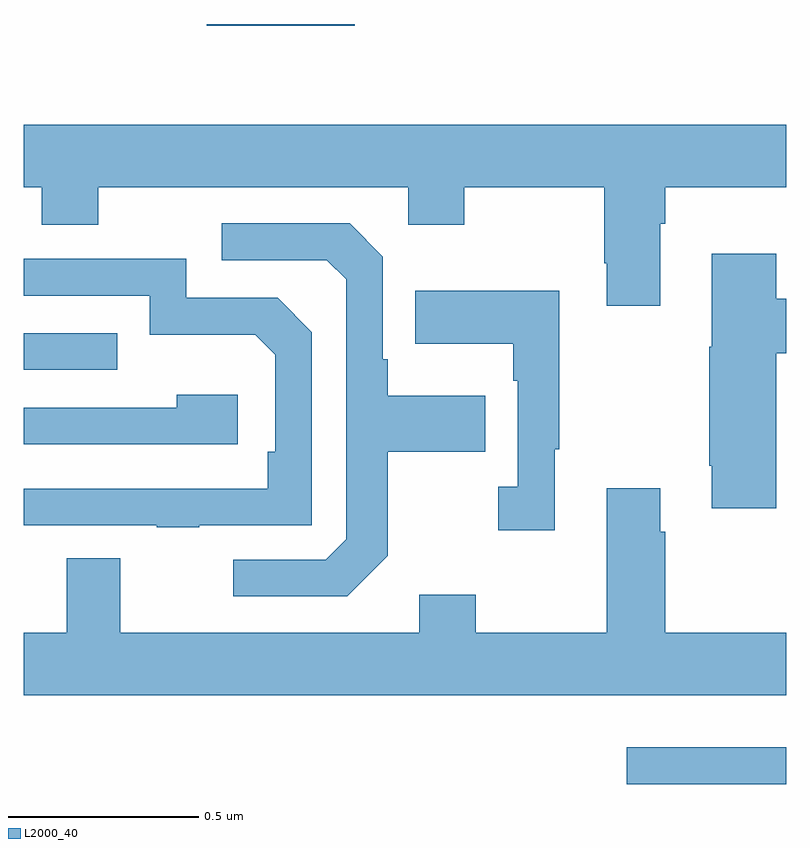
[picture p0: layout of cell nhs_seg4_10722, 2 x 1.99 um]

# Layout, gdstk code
import gdstk
lib = gdstk.Library(unit=1e-6, precision=1e-09)
def R(c, l, rs):  # rectangles x0, y0, x1, y1
    for r in rs: c.add(gdstk.rectangle(r[:2], r[2:], *l))
def P(c, l, *ps):  # polygons
    for p in ps: c.add(gdstk.Polygon(p, *l))
L2000_40 = (2000, 40)

nhs_seg4_10722 = lib.new_cell('nhs_seg4_10722')
R(nhs_seg4_10722, L2000_40, [(244.581,809.907,245,810.004), (243,810.993,243.245,811.089), (243.48,811.895,243.868,811.9)])
P(nhs_seg4_10722, L2000_40, [(244.669,811.376),(244.682,811.376),(244.682,811.472),(245,811.472),(245,811.636),(243,811.636),(243,811.472),(243.047,811.472),(243.047,811.373),(243.195,811.373),(243.195,811.472),(244.008,811.472),(244.008,811.373),(244.155,811.373),(244.155,811.472),(244.522,811.472),(244.522,811.273),(244.529,811.273),(244.529,811.161),(244.669,811.161)],
  [(243.955,810.505),(243.955,810.778),(244.211,810.778),(244.211,810.925),(243.955,810.925),(243.955,811.021),(243.942,811.021),(243.942,811.29),(243.855,811.377),(243.519,811.377),(243.519,811.281),(243.795,811.281),(243.846,811.23),(243.846,810.549),(243.792,810.495),(243.549,810.495),(243.549,810.399),(243.849,810.399)],
  [(244.973,811.037),(245,811.037),(245,811.179),(244.973,811.179),(244.973,811.297),(244.805,811.297),(244.805,811.053),(244.798,811.053),(244.798,810.742),(244.805,810.742),(244.805,810.63),(244.973,810.63)],
  [(243.461,810.585),(243.756,810.585),(243.756,811.092),(243.666,811.182),(243.426,811.182),(243.426,811.284),(243,811.284),(243,811.188),(243.33,811.188),(243.33,811.085),(243.607,811.085),(243.66,811.032),(243.66,810.778),(243.64,810.778),(243.64,810.681),(243,810.681),(243,810.585),(243.349,810.585),(243.349,810.58),(243.461,810.58)],
  [(244.393,810.785),(244.405,810.785),(244.405,811.201),(244.027,811.201),(244.027,811.061),(244.284,811.061),(244.284,810.965),(244.296,810.965),(244.296,810.686),(244.245,810.686),(244.245,810.573),(244.393,810.573)],
  [(243.562,810.928),(243.401,810.928),(243.401,810.894),(243,810.894),(243,810.798),(243.562,810.798)],
  [(245,810.304),(244.682,810.304),(244.682,810.569),(244.669,810.569),(244.669,810.682),(244.529,810.682),(244.529,810.304),(244.185,810.304),(244.185,810.403),(244.037,810.403),(244.037,810.304),(243.253,810.304),(243.253,810.499),(243.113,810.499),(243.113,810.304),(243,810.304),(243,810.14),(245,810.14)])

lib.write_gds('nhs_seg4_10722.gds')
